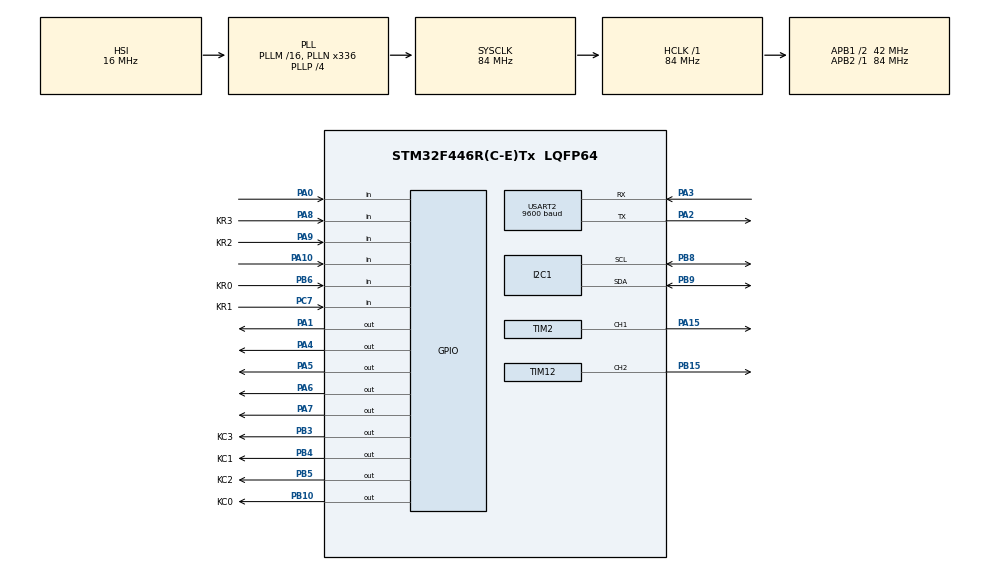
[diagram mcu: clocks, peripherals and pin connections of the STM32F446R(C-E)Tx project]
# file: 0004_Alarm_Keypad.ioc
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FREERTOS.Tasks01=keypadTask,24,128,StartKeypadTask,Default,NULL,Dynamic,NULL,NULL;oledTask,24,128,StartOledTask,Default,NULL,Dynamic,NULL,NULL;motionDetectTas,24,128,StartmotionDetectTask,Default,NULL,Dynamic,NULL,NULL;TimerManagement,24,128,StartTask04,Default,NULL,Dynamic,NULL,NULL
FREERTOS.configUSE_NEWLIB_REENTRANT=1
I2C1.I2C_Mode=I2C_Fast
Mcu.Family=STM32F4
Mcu.Name=STM32F446R(C-E)Tx
Mcu.Package=LQFP64
NVIC.PriorityGroup=NVIC_PRIORITYGROUP_4
NVIC.TIM6_DAC_IRQn=true\:0\:0\:false\:false\:true\:false\:false\:true\:true
NVIC.TimeBase=TIM6_DAC_IRQn
NVIC.TimeBaseIP=TIM6
PA0-WKUP.Signal=GPIO_Input
PA1.GPIO_Speed=GPIO_SPEED_FREQ_VERY_HIGH
PA1.Signal=GPIO_Output
PA10.Signal=GPIO_Input
PA13.Mode=Serial_Wire
PA13.Signal=SYS_JTMS-SWDIO
PA14.Mode=Serial_Wire
PA14.Signal=SYS_JTCK-SWCLK
PA15.Signal=S_TIM2_CH1_ETR
PA2.Mode=Asynchronous
PA2.Signal=USART2_TX
PA3.Mode=Asynchronous
PA3.Signal=USART2_RX
PA4.GPIO_Speed=GPIO_SPEED_FREQ_HIGH
PA4.PinState=GPIO_PIN_RESET
PA4.Signal=GPIO_Output
PA5.Signal=GPIO_Output
PA6.GPIO_Speed=GPIO_SPEED_FREQ_HIGH
PA6.PinState=GPIO_PIN_RESET
PA6.Signal=GPIO_Output
PA7.GPIO_Speed=GPIO_SPEED_FREQ_HIGH
PA7.PinState=GPIO_PIN_RESET
PA7.Signal=GPIO_Output
PA8.GPIO_Label=KR3
PA8.GPIO_PuPd=GPIO_PULLDOWN
PA8.Signal=GPIO_Input
PA9.GPIO_Label=KR2
PA9.GPIO_PuPd=GPIO_PULLDOWN
PA9.Signal=GPIO_Input
PB10.GPIO_Label=KC0
PB10.Signal=GPIO_Output
PB15.Signal=S_TIM12_CH2
PB3.GPIO_Label=KC3
PB3.Signal=GPIO_Output
PB4.GPIO_Label=KC1
PB4.Signal=GPIO_Output
PB5.GPIO_Label=KC2
PB5.Signal=GPIO_Output
PB6.GPIO_Label=KR0
PB6.GPIO_PuPd=GPIO_PULLDOWN
PB6.Signal=GPIO_Input
PB8.Mode=I2C
PB8.Signal=I2C1_SCL
PB9.Mode=I2C
PB9.Signal=I2C1_SDA
PC14-OSC32_IN.Mode=LSE-External-Oscillator
PC14-OSC32_IN.Signal=RCC_OSC32_IN
PC15-OSC32_OUT.Mode=LSE-External-Oscillator
PC15-OSC32_OUT.Signal=RCC_OSC32_OUT
PC7.GPIO_Label=KR1
PC7.GPIO_PuPd=GPIO_PULLDOWN
PC7.Signal=GPIO_Input
PH0-OSC_IN.Mode=HSE-External-Oscillator
PH0-OSC_IN.Signal=RCC_OSC_IN
PH1-OSC_OUT.Mode=HSE-External-Oscillator
PH1-OSC_OUT.Signal=RCC_OSC_OUT
ProjectManager.HeapSize=0x200
ProjectManager.StackSize=0x400
ProjectManager.TargetToolchain=STM32CubeIDE
RCC.48MHZClocksFreq_Value=84000000
RCC.AHBFreq_Value=84000000
RCC.APB1CLKDivider=RCC_HCLK_DIV2
RCC.APB1Freq_Value=42000000
RCC.APB1TimFreq_Value=84000000
RCC.APB2Freq_Value=84000000
RCC.APB2TimFreq_Value=84000000
RCC.CortexFreq_Value=84000000
RCC.FLatency-AdvancedSettings=FLASH_LATENCY_2
RCC.HCLKFreq_Value=84000000
RCC.HSE_VALUE=8000000
RCC.HSI_VALUE=16000000
RCC.PLLN=336
RCC.PLLP=RCC_PLLP_DIV4
RCC.SYSCLKFreq_VALUE=84000000
RCC.SYSCLKSource=RCC_SYSCLKSOURCE_PLLCLK
RCC.USBFreq_Value=168000000
RCC.VCOOutputFreq_Value=336000000
SH.S_TIM12_CH2.0=TIM12_CH2,PWM Generation2 CH2
SH.S_TIM2_CH1_ETR.0=TIM2_CH1,PWM Generation1 CH1
TIM12.Channel-PWM\ Generation2\ CH2=TIM_CHANNEL_2
TIM12.Prescaler=180-1
TIM2.Channel-PWM\ Generation1\ CH1=TIM_CHANNEL_1
TIM2.Period=8400-1
TIM2.Prescaler=200-1
USART2.BaudRate=9600
USART2.VirtualMode=VM_ASYNC
VP_FREERTOS_VS_CMSIS_V2.Mode=CMSIS_V2
VP_SYS_VS_tim6.Mode=TIM6
VP_TIM12_VS_ClockSourceINT.Mode=Internal
VP_TIM2_VS_ClockSourceINT.Mode=Internal
board=NUCLEO-F446RE

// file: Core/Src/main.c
/* USER CODE BEGIN Header */
/**
 ******************************************************************************
 * @file           : main.c
 * @brief          : Main program body
 ******************************************************************************
 * @attention
 *
 * Copyright (c) 2024 STMicroelectronics.
 * All rights reserved.
 *
 * This software is licensed under terms that can be found in the LICENSE file
 * in the root directory of this software component.
 * If no LICENSE file comes with this software, it is provided AS-IS.
 *
 ******************************************************************************
 */
/* USER CODE END Header */
#include "main.h"
#include "cmsis_os.h"

/* USER CODE BEGIN Includes */
#include "Keypad4X4.h"
#include <stdio.h>
#include <string.h>
#include <stdlib.h>
#include "timers.h"
#include "fonts.h"
#include "ssd1306.h"

/* USER CODE END Includes */

I2C_HandleTypeDef hi2c1;

TIM_HandleTypeDef htim2;
TIM_HandleTypeDef htim12;

UART_HandleTypeDef huart2;

/* Definitions for keypadTask */
osThreadId_t keypadTaskHandle;
const osThreadAttr_t keypadTask_attributes = {
  .name = "keypadTask",
  .stack_size = 128 * 4,
  .priority = (osPriority_t) 2,
};
/* Definitions for oledTask */
osThreadId_t oledTaskHandle;
const osThreadAttr_t oledTask_attributes = {
  .name = "oledTask",
  .stack_size = 128 * 4,
  .priority = (osPriority_t) 2,
};
/* Definitions for motionDetectTas */
osThreadId_t motionDetectTasHandle;
const osThreadAttr_t motionDetectTas_attributes = {
  .name = "motionDetectTas",
  .stack_size = 128 * 4,
  .priority = (osPriority_t) 2,
};
/* Definitions for TimerManagement */
osThreadId_t TimerManagementHandle;
const osThreadAttr_t TimerManagement_attributes = {
  .name = "TimerManagement",
  .stack_size = 128 * 4,
  .priority = (osPriority_t) 2,
};
/* USER CODE BEGIN PV */
extern char key;
char hold[4];
char code[8];
char savedCode[8];
uint8_t codeIndex = 0;
uint8_t configMode = 1;
uint8_t armed = 0;
uint32_t countcheck = 0;
volatile uint8_t secondes = 0; // Compteur de secondes
TimerHandle_t xTimer;
char msg[20];
int motion = 0;
/* USER CODE END PV */

void SystemClock_Config(void);
static void MX_GPIO_Init(void);
static void MX_USART2_UART_Init(void);
static void MX_I2C1_Init(void);
static void MX_TIM2_Init(void);
static void MX_TIM12_Init(void);
void StartKeypadTask(void *argument);
void StartOledTask(void *argument);
void StartmotionDetectTask(void *argument);
void StartTask04(void *argument);
/* Callback du Timer */
// Global flag to indicate the timer should be deleted
volatile uint8_t deleteTimerFlag = 0;
volatile uint8_t buzerFlag = 0;
volatile uint8_t sameCode = 1;
void vTimerCallback(TimerHandle_t xTimer)
{

    secondes++;

	// When 60 seconds have elapsed and the system is armed,
	// set the flag to indicate that the timer should be deleted.
	if (armed == 1 && secondes >= 60 && countcheck == 1)
	{

		deleteTimerFlag = 1;
		buzerFlag=1;
	}

}

int main(void)
{
  /* USER CODE BEGIN 1 */
	/* Callback du Timer */
  /* USER CODE END 1 */

  /* MCU Configuration--------------------------------------------------------*/

  /* Reset of all peripherals, Initializes the Flash interface and the Systick. */
  HAL_Init();

  /* Configure the system clock */
  SystemClock_Config();

  /* Initialize all configured peripherals */
  MX_GPIO_Init();
  MX_USART2_UART_Init();
  MX_I2C1_Init();
  MX_TIM2_Init();
  MX_TIM12_Init();
  /* USER CODE BEGIN 2 */
  HAL_TIM_PWM_Start(&htim12, TIM_CHANNEL_2);
	/* USER CODE BEGIN 2 */
	SSD1306_Init();
	SSD1306_GotoXY(0, 0);
	//SSD1306_Puts ("Voltage:", &Font_11x18, 1);
	SSD1306_Puts("Enter Code:", &Font_11x18, 1);
	SSD1306_GotoXY(0, 30);
	SSD1306_UpdateScreen();
	SSD1306_UpdateScreen();
	HAL_Delay(500);

  /* USER CODE END 2 */

  /* Init scheduler */
  osKernelInitialize();

  /* Create the thread(s) */
  /* creation of keypadTask */
  keypadTaskHandle = osThreadNew(StartKeypadTask, NULL, &keypadTask_attributes);

  /* creation of oledTask */
  oledTaskHandle = osThreadNew(StartOledTask, NULL, &oledTask_attributes);

  /* creation of motionDetectTas */
  motionDetectTasHandle = osThreadNew(StartmotionDetectTask, NULL, &motionDetectTas_attributes);

  /* creation of TimerManagement */
  TimerManagementHandle = osThreadNew(StartTask04, NULL, &TimerManagement_attributes);

  /* Start scheduler */
  osKernelStart();

  /* We should never get here as control is now taken by the scheduler */
  /* Infinite loop */
	while (1) {

	}
}

void SystemClock_Config(void)
{
  RCC_OscInitTypeDef RCC_OscInitStruct = {0};
  RCC_ClkInitTypeDef RCC_ClkInitStruct = {0};

  /** Configure the main internal regulator output voltage
  */
  __HAL_RCC_PWR_CLK_ENABLE();
  __HAL_PWR_VOLTAGESCALING_CONFIG(PWR_REGULATOR_VOLTAGE_SCALE3);

  /** Initializes the RCC Oscillators according to the specified parameters
  * in the RCC_OscInitTypeDef structure.
  */
  RCC_OscInitStruct.OscillatorType = RCC_OSCILLATORTYPE_HSI;
  RCC_OscInitStruct.HSIState = RCC_HSI_ON;
  RCC_OscInitStruct.HSICalibrationValue = RCC_HSICALIBRATION_DEFAULT;
  RCC_OscInitStruct.PLL.PLLState = RCC_PLL_ON;
  RCC_OscInitStruct.PLL.PLLSource = RCC_PLLSOURCE_HSI;
  RCC_OscInitStruct.PLL.PLLM = 16;
  RCC_OscInitStruct.PLL.PLLN = 336;
  RCC_OscInitStruct.PLL.PLLP = RCC_PLLP_DIV4;
  RCC_OscInitStruct.PLL.PLLQ = 2;
  RCC_OscInitStruct.PLL.PLLR = 2;
  if (HAL_RCC_OscConfig(&RCC_OscInitStruct) != HAL_OK)
  {
    Error_Handler();
  }

  /** Initializes the CPU, AHB and APB buses clocks
  */
  RCC_ClkInitStruct.ClockType = RCC_CLOCKTYPE_HCLK|RCC_CLOCKTYPE_SYSCLK
                              |RCC_CLOCKTYPE_PCLK1|RCC_CLOCKTYPE_PCLK2;
  RCC_ClkInitStruct.SYSCLKSource = RCC_SYSCLKSOURCE_PLLCLK;
  RCC_ClkInitStruct.AHBCLKDivider = RCC_SYSCLK_DIV1;
  RCC_ClkInitStruct.APB1CLKDivider = RCC_HCLK_DIV2;
  RCC_ClkInitStruct.APB2CLKDivider = RCC_HCLK_DIV1;

  if (HAL_RCC_ClockConfig(&RCC_ClkInitStruct, FLASH_LATENCY_2) != HAL_OK)
  {
    Error_Handler();
  }
}

static void MX_I2C1_Init(void)
{

  hi2c1.Instance = I2C1;
  hi2c1.Init.ClockSpeed = 400000;
  hi2c1.Init.DutyCycle = I2C_DUTYCYCLE_2;
  hi2c1.Init.OwnAddress1 = 0;
  hi2c1.Init.AddressingMode = I2C_ADDRESSINGMODE_7BIT;
  hi2c1.Init.DualAddressMode = I2C_DUALADDRESS_DISABLE;
  hi2c1.Init.OwnAddress2 = 0;
  hi2c1.Init.GeneralCallMode = I2C_GENERALCALL_DISABLE;
  hi2c1.Init.NoStretchMode = I2C_NOSTRETCH_DISABLE;
  if (HAL_I2C_Init(&hi2c1) != HAL_OK)
  {
    Error_Handler();
  }

}

static void MX_TIM2_Init(void)
{

  TIM_ClockConfigTypeDef sClockSourceConfig = {0};
  TIM_MasterConfigTypeDef sMasterConfig = {0};
  TIM_OC_InitTypeDef sConfigOC = {0};

  htim2.Instance = TIM2;
  htim2.Init.Prescaler = 200-1;
  htim2.Init.CounterMode = TIM_COUNTERMODE_UP;
  htim2.Init.Period = 8400-1;
  htim2.Init.ClockDivision = TIM_CLOCKDIVISION_DIV1;
  htim2.Init.AutoReloadPreload = TIM_AUTORELOAD_PRELOAD_DISABLE;
  if (HAL_TIM_Base_Init(&htim2) != HAL_OK)
  {
    Error_Handler();
  }
  sClockSourceConfig.ClockSource = TIM_CLOCKSOURCE_INTERNAL;
  if (HAL_TIM_ConfigClockSource(&htim2, &sClockSourceConfig) != HAL_OK)
  {
    Error_Handler();
  }
  if (HAL_TIM_PWM_Init(&htim2) != HAL_OK)
  {
    Error_Handler();
  }
  sMasterConfig.MasterOutputTrigger = TIM_TRGO_RESET;
  sMasterConfig.MasterSlaveMode = TIM_MASTERSLAVEMODE_DISABLE;
  if (HAL_TIMEx_MasterConfigSynchronization(&htim2, &sMasterConfig) != HAL_OK)
  {
    Error_Handler();
  }
  sConfigOC.OCMode = TIM_OCMODE_PWM1;
  sConfigOC.Pulse = 0;
  sConfigOC.OCPolarity = TIM_OCPOLARITY_HIGH;
  sConfigOC.OCFastMode = TIM_OCFAST_DISABLE;
  if (HAL_TIM_PWM_ConfigChannel(&htim2, &sConfigOC, TIM_CHANNEL_1) != HAL_OK)
  {
    Error_Handler();
  }
  HAL_TIM_MspPostInit(&htim2);

}

static void MX_TIM12_Init(void)
{

  TIM_ClockConfigTypeDef sClockSourceConfig = {0};
  TIM_OC_InitTypeDef sConfigOC = {0};

  htim12.Instance = TIM12;
  htim12.Init.Prescaler = 180-1;
  htim12.Init.CounterMode = TIM_COUNTERMODE_UP;
  htim12.Init.Period = 65535;
  htim12.Init.ClockDivision = TIM_CLOCKDIVISION_DIV1;
  htim12.Init.AutoReloadPreload = TIM_AUTORELOAD_PRELOAD_DISABLE;
  if (HAL_TIM_Base_Init(&htim12) != HAL_OK)
  {
    Error_Handler();
  }
  sClockSourceConfig.ClockSource = TIM_CLOCKSOURCE_INTERNAL;
  if (HAL_TIM_ConfigClockSource(&htim12, &sClockSourceConfig) != HAL_OK)
  {
    Error_Handler();
  }
  if (HAL_TIM_PWM_Init(&htim12) != HAL_OK)
  {
    Error_Handler();
  }
  sConfigOC.OCMode = TIM_OCMODE_PWM1;
  sConfigOC.Pulse = 0;
  sConfigOC.OCPolarity = TIM_OCPOLARITY_HIGH;
  sConfigOC.OCFastMode = TIM_OCFAST_DISABLE;
  if (HAL_TIM_PWM_ConfigChannel(&htim12, &sConfigOC, TIM_CHANNEL_2) != HAL_OK)
  {
    Error_Handler();
  }
  HAL_TIM_MspPostInit(&htim12);

}

static void MX_USART2_UART_Init(void)
{

  huart2.Instance = USART2;
  huart2.Init.BaudRate = 9600;
  huart2.Init.WordLength = UART_WORDLENGTH_8B;
  huart2.Init.StopBits = UART_STOPBITS_1;
  huart2.Init.Parity = UART_PARITY_NONE;
  huart2.Init.Mode = UART_MODE_TX_RX;
  huart2.Init.HwFlowCtl = UART_HWCONTROL_NONE;
  huart2.Init.OverSampling = UART_OVERSAMPLING_16;
  if (HAL_UART_Init(&huart2) != HAL_OK)
  {
    Error_Handler();
  }

}

static void MX_GPIO_Init(void)
{
  GPIO_InitTypeDef GPIO_InitStruct = {0};

  /* GPIO Ports Clock Enable */
  __HAL_RCC_GPIOC_CLK_ENABLE();
  __HAL_RCC_GPIOH_CLK_ENABLE();
  __HAL_RCC_GPIOA_CLK_ENABLE();
  __HAL_RCC_GPIOB_CLK_ENABLE();

  /*Configure GPIO pin Output Level */
  HAL_GPIO_WritePin(GPIOA, GPIO_PIN_1|GPIO_PIN_4|GPIO_PIN_5|GPIO_PIN_6
                          |GPIO_PIN_7, GPIO_PIN_RESET);

  /*Configure GPIO pin Output Level */
  HAL_GPIO_WritePin(GPIOB, KC0_Pin|KC3_Pin|KC1_Pin|KC2_Pin, GPIO_PIN_RESET);

  /*Configure GPIO pins : PA0 PA10 */
  GPIO_InitStruct.Pin = GPIO_PIN_0|GPIO_PIN_10;
  GPIO_InitStruct.Mode = GPIO_MODE_INPUT;
  GPIO_InitStruct.Pull = GPIO_NOPULL;
  HAL_GPIO_Init(GPIOA, &GPIO_InitStruct);

  /*Configure GPIO pin : PA1 */
  GPIO_InitStruct.Pin = GPIO_PIN_1;
  GPIO_InitStruct.Mode = GPIO_MODE_OUTPUT_PP;
  GPIO_InitStruct.Pull = GPIO_NOPULL;
  GPIO_InitStruct.Speed = GPIO_SPEED_FREQ_VERY_HIGH;
  HAL_GPIO_Init(GPIOA, &GPIO_InitStruct);

  /*Configure GPIO pins : PA4 PA6 PA7 */
  GPIO_InitStruct.Pin = GPIO_PIN_4|GPIO_PIN_6|GPIO_PIN_7;
  GPIO_InitStruct.Mode = GPIO_MODE_OUTPUT_PP;
  GPIO_InitStruct.Pull = GPIO_NOPULL;
  GPIO_InitStruct.Speed = GPIO_SPEED_FREQ_HIGH;
  HAL_GPIO_Init(GPIOA, &GPIO_InitStruct);

  /*Configure GPIO pin : PA5 */
  GPIO_InitStruct.Pin = GPIO_PIN_5;
  GPIO_InitStruct.Mode = GPIO_MODE_OUTPUT_PP;
  GPIO_InitStruct.Pull = GPIO_NOPULL;
  GPIO_InitStruct.Speed = GPIO_SPEED_FREQ_LOW;
  HAL_GPIO_Init(GPIOA, &GPIO_InitStruct);

  /*Configure GPIO pins : KC0_Pin KC3_Pin KC1_Pin KC2_Pin */
  GPIO_InitStruct.Pin = KC0_Pin|KC3_Pin|KC1_Pin|KC2_Pin;
  GPIO_InitStruct.Mode = GPIO_MODE_OUTPUT_PP;
  GPIO_InitStruct.Pull = GPIO_NOPULL;
  GPIO_InitStruct.Speed = GPIO_SPEED_FREQ_LOW;
  HAL_GPIO_Init(GPIOB, &GPIO_InitStruct);

  /*Configure GPIO pin : KR1_Pin */
  GPIO_InitStruct.Pin = KR1_Pin;
  GPIO_InitStruct.Mode = GPIO_MODE_INPUT;
  GPIO_InitStruct.Pull = GPIO_PULLDOWN;
  HAL_GPIO_Init(KR1_GPIO_Port, &GPIO_InitStruct);

  /*Configure GPIO pins : KR3_Pin KR2_Pin */
  GPIO_InitStruct.Pin = KR3_Pin|KR2_Pin;
  GPIO_InitStruct.Mode = GPIO_MODE_INPUT;
  GPIO_InitStruct.Pull = GPIO_PULLDOWN;
  HAL_GPIO_Init(GPIOA, &GPIO_InitStruct);

  /*Configure GPIO pin : KR0_Pin */
  GPIO_InitStruct.Pin = KR0_Pin;
  GPIO_InitStruct.Mode = GPIO_MODE_INPUT;
  GPIO_InitStruct.Pull = GPIO_PULLDOWN;
  HAL_GPIO_Init(KR0_GPIO_Port, &GPIO_InitStruct);

}

/* USER CODE BEGIN 4 */
void setNStars(char *str, int n) {
	for (int i = 0; i < n; i++) {
		str[i] = '*';
	}
}

/* USER CODE END 4 */

void StartKeypadTask(void *argument)
{
  /* USER CODE BEGIN 5 */
	/* Infinite loop */
	for (;;) {
		/* D10 to D7 as input pins for row 0 to row 3. D6 to D3 as output for column pins C1 to C3*/
		key = Get_Key();
		sprintf(hold, "%c", key);
		code[codeIndex] = key;

		// Save the code if the config mode is activated
		if (configMode == 1 && codeIndex > 4) {
			configMode = 0;
			for (int i = 0; i < strlen(code); i++) {
				savedCode[i] = code[i];
			}
			codeIndex = 0;
			HAL_GPIO_WritePin(GPIOA, GPIO_PIN_6, GPIO_PIN_SET);
			HAL_GPIO_WritePin(GPIOA, GPIO_PIN_7, GPIO_PIN_RESET);
		} else if (configMode == 0 && codeIndex > 4) {

			for (int i = 0; i < strlen(code); i++) {
				// Verify if the code corresponds to the saved code
				if (code[i] != savedCode[i]) {
					sameCode = 0;
				}
			}
			// If the entered code matches arm or disarm
			if (sameCode == 1) {
				if (armed == 1) {
					//Flags
					armed = 0;
					countcheck = 0;
					buzerFlag = 0;

					// change flag to delete the timer if exist
					if(xTimer != NULL){
						deleteTimerFlag = 1;
					}

					//Led management
					HAL_GPIO_WritePin(GPIOA, GPIO_PIN_6, GPIO_PIN_SET); // Green led
					HAL_GPIO_WritePin(GPIOA, GPIO_PIN_7, GPIO_PIN_RESET); //Red led

					//open the door
					__HAL_TIM_SET_COMPARE(&htim12,TIM_CHANNEL_2, 750);
					HAL_Delay(1000);
				} else {
					armed = 1;
					// Launch Timer
					if(countcheck == 0){
						xTimer = xTimerCreate("Timer1Sec", pdMS_TO_TICKS(1000), pdTRUE, (void *)0, vTimerCallback);
						  if (xTimer == NULL)
						  {
								  sprintf(msg, "%s \r\n","Erreur Timer");
								  HAL_UART_Transmit(&huart2, (uint8_t*)msg, strlen(msg), HAL_MAX_DELAY);
						  }else{
							xTimerStart(xTimer, 0);
							countcheck =1;
						}
					}

					HAL_GPIO_WritePin(GPIOA, GPIO_PIN_7, GPIO_PIN_SET);
					HAL_GPIO_WritePin(GPIOA, GPIO_PIN_6, GPIO_PIN_RESET);
					//locking door
					__HAL_TIM_SET_COMPARE(&htim12,TIM_CHANNEL_2, 250);
					HAL_Delay(1000);

				}
			}
			codeIndex = 0;
		} else {
			codeIndex = codeIndex + 1;
		}

		HAL_UART_Transmit(&huart2, (uint8_t*) hold, strlen(hold), 100);
		HAL_Delay(500);
	}
  /* USER CODE END 5 */
}

void StartOledTask(void *argument)
{
  /* USER CODE BEGIN StartOledTask */
	/* Infinite loop */

	for (;;) {
		if (codeIndex > 0) {
			if (codeIndex == 1) {
				SSD1306_GotoXY(0, 30);
				SSD1306_UpdateScreen();
				SSD1306_Puts("           ", &Font_16x26, 1);
			}
			char str[20] = "";
			char str2[8] = "";
			setNStars(str2, codeIndex);
			snprintf(str, sizeof(str2), str2);
			SSD1306_GotoXY(0, 30);
			SSD1306_UpdateScreen();
			SSD1306_Puts(str2, &Font_16x26, 1);
		} else if (configMode == 0) {
			char str[10] = "";
			if (armed == 1) {
				char msg[20] = "";
				// Show the timer update on the screen
				if(secondes > 0){
				    snprintf(msg, sizeof(msg), "%d", 60 - (int)secondes);
				    SSD1306_Clear();
					// Set cursor position
					SSD1306_GotoXY(0, 30);
					// Write the counter on the display
					SSD1306_Puts(msg, &Font_11x18, 1);
					// Refresh the screen to show the update
					SSD1306_UpdateScreen();
					// Wait for 1 second before next count
					osDelay(1000);}
				//Just to make sure that will display Armed after the timer is delete since when it's happen the secondes variable goes to 0
					if(secondes == 0){
						if(sameCode == 0){
							snprintf(str, sizeof(str), "Incorrect");
							// Clear previous
							SSD1306_Clear();
							// Set cursor position
							SSD1306_GotoXY(0, 30);
							// Write the counter on the display
							SSD1306_Puts(str, &Font_11x18, 1);
							// Refresh the screen to show the update
							SSD1306_UpdateScreen();
							// Wait for 1 second before next count
							osDelay(1000);
							sameCode = 1;
						}
						snprintf(str, sizeof(str), "ARMED");
						// Clear previous
						SSD1306_Clear();
						// Set cursor position
						SSD1306_GotoXY(0, 30);
						// Write the counter on the display
						SSD1306_Puts(str, &Font_11x18, 1);
						// Refresh the screen to show the update
						SSD1306_UpdateScreen();
						// Wait for 1 second before next count
						osDelay(1000);
					}
			} else {
				snprintf(str, sizeof(str), "NOT ARMED");
				// Clear previous content (optional, if you want a clean screen)
				SSD1306_Clear();
				// Set cursor position
				SSD1306_GotoXY(0, 30);
				// Write the counter on the display
				SSD1306_Puts(str, &Font_11x18, 1);
				// Refresh the screen to show the update
				SSD1306_UpdateScreen();
				// Wait for 1 second before next count
				osDelay(1000);
			}
			SSD1306_GotoXY(0, 30);
			SSD1306_UpdateScreen();
			SSD1306_Puts(str, &Font_11x18, 1);
		}
		SSD1306_UpdateScreen();
		osDelay(200);
	}
  /* USER CODE END StartOledTask */
}

void StartmotionDetectTask(void *argument)
{
  /* USER CODE BEGIN StartmotionDetectTask */
  /* Infinite loop */
  for(;;)
  {
	if (armed == 1) {
		motion = HAL_GPIO_ReadPin(GPIOA, GPIO_PIN_0);
		if (buzerFlag ==1 && motion == 1) {
			HAL_GPIO_WritePin(GPIOA, GPIO_PIN_4, GPIO_PIN_SET);
			HAL_UART_Transmit(&huart2, (uint8_t*) "motion\n",
					strlen("motion\n"), 100);
			osDelay(6000); // Buzzer goes on for 6 seconds if motion is sensed
			HAL_GPIO_WritePin(GPIOA, GPIO_PIN_4, GPIO_PIN_RESET); // buzzer off
			osDelay(6000); // Buzzer goes off for 6 seconds after before checking if there's still motion sensed
		}
	}else{
		HAL_GPIO_WritePin(GPIOA, GPIO_PIN_4, GPIO_PIN_RESET); // buzzer off
	}
    osDelay(1);
  }
  /* USER CODE END StartmotionDetectTask */
}

void StartTask04(void *argument)
{
  /* USER CODE BEGIN StartTask04 */
  /* Infinite loop */
  for(;;)
  {

	  // Check if the timer should be deleted
	          if (deleteTimerFlag == 1)
	          {
	        	  vTimerSetReloadMode(xTimer, pdFALSE);
	        	  if (armed == 1)
				  {
	        		  // Optionally update display before deletion
					  char msg[20];
					  snprintf(msg, sizeof(msg), "ARMED");
					  SSD1306_Clear();
					  SSD1306_GotoXY(0, 30);
					  SSD1306_Puts(msg, &Font_11x18, 1);
					  SSD1306_UpdateScreen();
					  osDelay(1000);

				  }else{
					  // Optionally update display before deletion
					  char msg[20];
					  snprintf(msg, sizeof(msg), "NOT ARMED");
					  SSD1306_Clear();
					  SSD1306_GotoXY(0, 30);
					  SSD1306_Puts(msg, &Font_11x18, 1);
					  SSD1306_UpdateScreen();
					  osDelay(1000);
				  }

	              // Delete the timer to stop further callbacks
	              if (xTimerDelete(xTimer, 0) == pdPASS)
	              {
	                  // Reset counter and flag
	                  secondes = 0;
	                  deleteTimerFlag = 0;
	                  xTimer = NULL;  // Mark the timer as deleted

	              }
	          }
	          // Sleep for a short period before checking again
	          osDelay(100);
	      }
  /* USER CODE END StartTask04 */
}

void HAL_TIM_PeriodElapsedCallback(TIM_HandleTypeDef *htim)
{
  if (htim->Instance == TIM6) {
    HAL_IncTick();
  }
}

void Error_Handler(void)
{
	__disable_irq();
	while (1) {
	}
}
